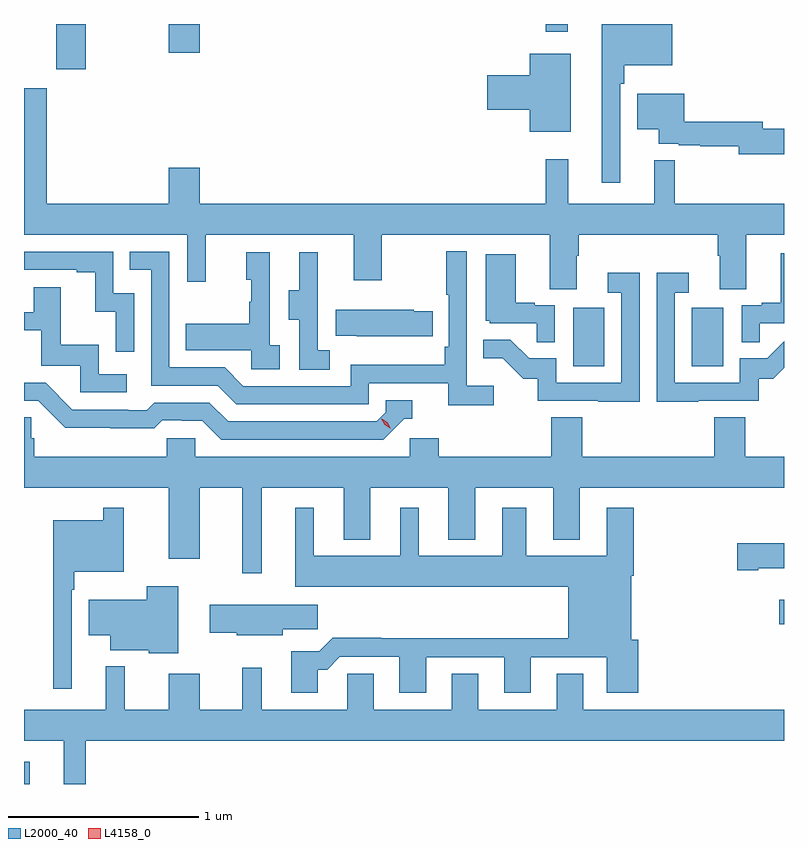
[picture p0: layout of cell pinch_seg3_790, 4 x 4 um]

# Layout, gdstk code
import gdstk
lib = gdstk.Library(unit=1e-6, precision=1e-09)
def R(c, l, rs):  # rectangles x0, y0, x1, y1
    for r in rs: c.add(gdstk.rectangle(r[:2], r[2:], *l))
def P(c, l, *ps):  # polygons
    for p in ps: c.add(gdstk.Polygon(p, *l))
L2000_40 = (2000, 40)
L4158_0 = (4158, 0)

pinch_seg3_790 = lib.new_cell('pinch_seg3_790')
R(pinch_seg3_790, L2000_40, [(847.563,715.341,847.593,715.459), (851.538,716.182,851.563,716.311), (850.454,717.54,850.618,717.847), (851.078,717.54,851.242,717.847), (847.732,719.103,847.887,719.341), (848.324,719.19,848.488,719.341), (850.309,719.301,850.426,719.341)])
P(pinch_seg3_790, L2000_40, [(850.701,719.027),(850.721,719.027),(850.721,719.123),(850.974,719.123),(850.974,719.341),(850.604,719.341),(850.604,718.506),(850.701,718.506)],
  [(850.441,719.185),(850.226,719.185),(850.226,719.072),(850.002,719.072),(850.002,718.889),(850.226,718.889),(850.226,718.775),(850.441,718.775)],
  [(850.471,718.12),(850.484,718.12),(850.484,718.232),(851.213,718.232),(851.213,718.12),(851.225,718.12),(851.225,717.946),(851.365,717.946),(851.365,718.232),(851.563,718.232),(851.563,718.396),(850.988,718.396),(850.988,718.625),(850.88,718.625),(850.88,718.396),(850.427,718.396),(850.427,718.63),(850.309,718.63),(850.309,718.396),(848.488,718.396),(848.488,718.585),(848.324,718.585),(848.324,718.396),(847.684,718.396),(847.684,719.002),(847.563,719.002),(847.563,718.232),(848.421,718.232),(848.421,717.984),(848.519,717.984),(848.519,718.232),(849.299,718.232),(849.299,717.993),(849.447,717.993),(849.447,718.232),(850.331,718.232),(850.331,717.946),(850.471,717.946)],
  [(851.563,718.79),(851.452,718.79),(851.452,718.826),(851.039,718.826),(851.039,718.975),(850.79,718.975),(850.79,718.787),(850.904,718.787),(850.904,718.71),(851.008,718.71),(851.008,718.704),(851.122,718.704),(851.122,718.698),(851.324,718.698),(851.324,718.655),(851.563,718.655)],
  [(850.036,717.436),(849.894,717.436),(849.894,718.144),(849.786,718.144),(849.786,717.916),(849.798,717.916),(849.798,717.643),(849.778,717.643),(849.778,717.547),(849.282,717.547),(849.282,717.435),(848.718,717.435),(848.619,717.534),(848.328,717.534),(848.328,718.143),(848.119,718.143),(848.119,718.047),(848.232,718.047),(848.232,717.438),(848.582,717.438),(848.681,717.339),(849.378,717.339),(849.378,717.45),(849.797,717.45),(849.797,717.334),(850.036,717.334)],
  [(848.142,717.924),(848.034,717.924),(848.034,718.143),(847.563,718.143),(847.563,718.047),(847.841,718.047),(847.841,718.035),(847.937,718.035),(847.937,717.827),(848.046,717.827),(848.046,717.615),(848.142,717.615)],
  [(848.908,717.65),(848.856,717.65),(848.856,718.141),(848.732,718.141),(848.732,717.996),(848.758,717.996),(848.758,717.878),(848.748,717.878),(848.748,717.763),(848.413,717.763),(848.413,717.623),(848.76,717.623),(848.76,717.525),(848.908,717.525)],
  [(849.172,717.623),(849.108,717.623),(849.108,717.927),(849.11,717.927),(849.11,718.141),(849.011,718.141),(849.011,717.939),(848.957,717.939),(848.957,717.784),(849.012,717.784),(849.012,717.52),(849.172,717.52)],
  [(851.435,717.765),(851.563,717.765),(851.563,718.135),(851.546,718.135),(851.546,717.874),(851.447,717.874),(851.447,717.861),(851.34,717.861),(851.34,717.667),(851.435,717.667)],
  [(850.356,717.861),(850.25,717.861),(850.25,717.874),(850.15,717.874),(850.15,718.129),(849.992,718.129),(849.992,717.78),(850.014,717.78),(850.014,717.765),(850.261,717.765),(850.261,717.667),(850.356,717.667)],
  [(851.111,717.357),(851.43,717.357),(851.43,717.474),(851.506,717.474),(851.563,717.531),(851.563,717.67),(851.475,717.582),(851.331,717.582),(851.331,717.453),(850.989,717.453),(850.989,717.927),(851.062,717.927),(851.062,718.033),(850.893,718.033),(850.893,717.352),(851.111,717.352)],
  [(850.803,718.033),(850.635,718.033),(850.635,717.927),(850.707,717.927),(850.707,717.453),(850.365,717.453),(850.365,717.582),(850.221,717.582),(850.123,717.68),(849.979,717.68),(849.979,717.581),(850.083,717.581),(850.19,717.474),(850.267,717.474),(850.267,717.357),(850.585,717.357),(850.585,717.352),(850.803,717.352)],
  [(848.104,717.498),(847.956,717.498),(847.956,717.652),(847.757,717.652),(847.757,717.955),(847.613,717.955),(847.613,717.825),(847.563,717.825),(847.563,717.729),(847.655,717.729),(847.655,717.543),(847.86,717.543),(847.86,717.402),(848.104,717.402)],
  [(849.713,717.828),(849.615,717.828),(849.615,717.838),(849.205,717.838),(849.205,717.701),(849.313,717.701),(849.313,717.698),(849.713,717.698)],
  [(849.564,717.264),(849.607,717.264),(849.607,717.36),(849.468,717.36),(849.468,717.297),(849.42,717.249),(848.637,717.249),(848.538,717.348),(848.249,717.348),(848.21,717.309),(848.111,717.309),(848.111,717.312),(847.818,717.312),(847.677,717.453),(847.563,717.453),(847.563,717.357),(847.638,717.357),(847.78,717.215),(848.016,717.215),(848.016,717.213),(848.249,717.213),(848.291,717.255),(848.394,717.255),(848.394,717.252),(848.501,717.252),(848.6,717.153),(849.453,717.153)],
  [(848.463,717.162),(848.313,717.162),(848.313,717.064),(847.616,717.064),(847.616,717.162),(847.601,717.162),(847.601,717.272),(847.563,717.272),(847.563,716.9),(848.324,716.9),(848.324,716.526),(848.488,716.526),(848.488,716.9),(848.711,716.9),(848.711,716.451),(848.815,716.451),(848.815,716.9),(849.245,716.9),(849.245,716.627),(849.385,716.627),(849.385,716.9),(849.797,716.9),(849.797,716.627),(849.937,716.627),(849.937,716.9),(850.349,716.9),(850.349,716.627),(850.489,716.627),(850.489,716.9),(851.563,716.9),(851.563,717.064),(851.36,717.064),(851.36,717.272),(851.195,717.272),(851.195,717.064),(850.502,717.064),(850.502,717.272),(850.337,717.272),(850.337,717.064),(849.746,717.064),(849.746,717.162),(849.594,717.162),(849.594,717.064),(848.463,717.064)],
  [(849.109,715.943),(849.158,715.943),(849.225,716.01),(849.539,716.01),(849.539,715.821),(849.679,715.821),(849.679,716.007),(850.091,716.007),(850.091,715.821),(850.231,715.821),(850.231,716.007),(850.631,716.007),(850.631,715.821),(850.796,715.821),(850.796,716.1),(850.759,716.1),(850.759,716.438),(850.772,716.438),(850.772,716.794),(850.631,716.794),(850.631,716.542),(850.207,716.542),(850.207,716.794),(850.079,716.794),(850.079,716.542),(849.64,716.542),(849.64,716.794),(849.542,716.794),(849.542,716.542),(849.088,716.542),(849.088,716.794),(848.99,716.794),(848.99,716.378),(850.427,716.378),(850.427,716.108),(849.443,716.108),(849.443,716.111),(849.188,716.111),(849.118,716.041),(848.969,716.041),(848.969,715.821),(849.109,715.821)],
  [(847.815,716.363),(847.828,716.363),(847.828,716.459),(848.088,716.459),(848.088,716.794),(847.98,716.794),(847.98,716.728),(847.718,716.728),(847.718,715.842),(847.815,715.842)],
  [(851.428,716.477),(851.563,716.477),(851.563,716.607),(851.316,716.607),(851.316,716.465),(851.428,716.465)],
  [(848.374,716.383),(848.209,716.383),(848.209,716.311),(847.904,716.311),(847.904,716.123),(848.018,716.123),(848.018,716.045),(848.22,716.045),(848.22,716.03),(848.374,716.03)],
  [(848.925,716.155),(849.109,716.155),(849.109,716.284),(848.541,716.284),(848.541,716.137),(848.682,716.137),(848.682,716.123),(848.925,716.123)],
  [(847.889,715.568),(851.563,715.568),(851.563,715.732),(850.507,715.732),(850.507,715.922),(850.367,715.922),(850.367,715.732),(849.955,715.732),(849.955,715.922),(849.815,715.922),(849.815,715.732),(849.403,715.732),(849.403,715.922),(849.264,715.922),(849.264,715.732),(848.815,715.732),(848.815,715.954),(848.711,715.954),(848.711,715.732),(848.488,715.732),(848.488,715.921),(848.324,715.921),(848.324,715.732),(848.094,715.732),(848.094,715.96),(847.994,715.96),(847.994,715.732),(847.563,715.732),(847.563,715.568),(847.772,715.568),(847.772,715.341),(847.889,715.341)])
P(pinch_seg3_790, L4158_0, [(849.492,717.211),(849.461,717.231),(849.444,717.263),(849.444,717.264),(849.445,717.264),(849.476,717.244),(849.492,717.212),(849.492,717.211)])

lib.write_gds('pinch_seg3_790.gds')
